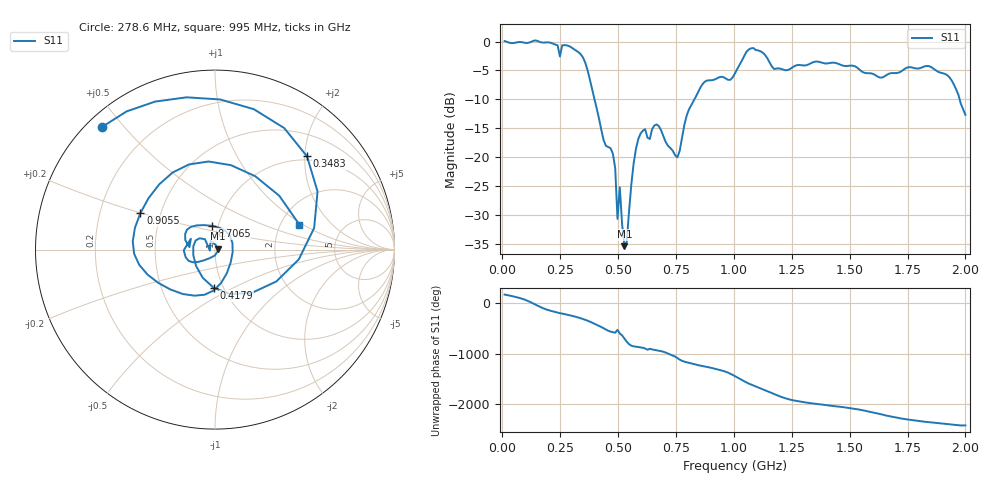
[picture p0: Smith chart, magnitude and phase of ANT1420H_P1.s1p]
!Created with skrf (http://scikit-rf.org).
# Hz S RI R 50.0
!freq ReS11 ImS11
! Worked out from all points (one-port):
!   201 points, 10 MHz to 2 GHz, reference 50 ohm
!   lowest |S11| = -35.4 dB at 527.4 MHz (marker M1), VSWR 1.03, Z = 51.6 + j0.593 ohm
!   |S11| at or under -10 dB: 398.2 MHz to 829.9 MHz (431.7 MHz wide, 70.3 % of centre); 1.975 GHz to end of sweep
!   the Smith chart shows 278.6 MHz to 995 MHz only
!   S11 on the Smith chart (normalised r, x): 278.6 MHz: 0.04, +0.44; 348.3 MHz: 0.92, +2.05; 417.9 MHz: 0.90, -0.40; 706.5 MHz: 0.93, +0.25; 905.5 MHz: 0.38, +0.20; 995 MHz: 2.53, +0.93
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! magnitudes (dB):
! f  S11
! 10 MHz  0.1
! 209 MHz  -0.2
! 248.8 MHz  -2.6
! 258.8 MHz  -0.6
! 278.6 MHz  -0.6
! 348.3 MHz  -2.7
! 417.9 MHz  -13.4
! 477.6 MHz  -19.4
! 487.6 MHz  -21.9
! 497.6 MHz  -30.7
! 507.5 MHz  -25.2
! 527.4 MHz  -35.4
! 537.4 MHz  -34.7
! 567.2 MHz  -21.1
! 587.1 MHz  -16.9
! 666.7 MHz  -14.3
! 706.5 MHz  -17.5
! 756.2 MHz  -20.1
! 806 MHz  -11.8
! 905.5 MHz  -6.7
! 995 MHz  -6.2
! 1.005 GHz  -5.5
! 1.085 GHz  -1.1
! 1.254 GHz  -4.4
! 1.502 GHz  -4.2
! 1.751 GHz  -4.5
! 1.92 GHz  -5.8
! 2 GHz  -12.7
